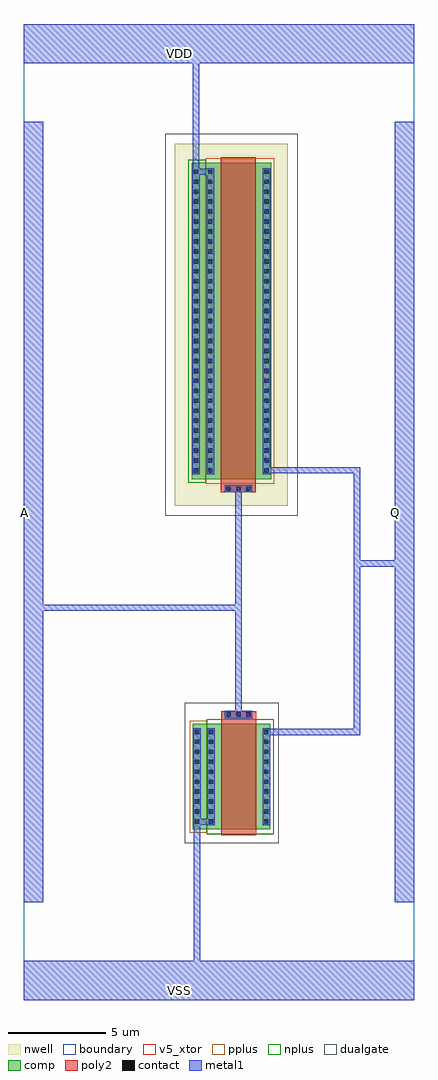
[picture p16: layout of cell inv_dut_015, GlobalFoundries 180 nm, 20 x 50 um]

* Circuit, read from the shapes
.subckt inv_dut_015 A Q VDD VSS
XM1 Q A VSS VSS nfet_05v0 w=5.4u l=1.8u
XM2 Q A VDD VDD pfet_05v0 w=16.2u l=1.8u
.ends

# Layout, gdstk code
from math import pi, radians
import gdstk
lib = gdstk.Library(unit=1e-6, precision=1e-09)
def R(c, l, rs):  # rectangles x0, y0, x1, y1
    for r in rs: c.add(gdstk.rectangle(r[:2], r[2:], *l))
def A(c, l, x, y, w, h, nx, ny, dx, dy):  # array of equal rectangles
    R(c, l, [(x+i*dx, y+j*dy, x+i*dx+w, y+j*dy+h) for i in range(nx) for j in range(ny)])
boundary = (0, 0)
nwell = (21, 0)
comp = (22, 0)
poly2 = (30, 0)
pplus = (31, 0)
nplus = (32, 0)
contact = (33, 0)
metal1 = (34, 0)
dualgate = (55, 0)
v5_xtor = (112, 1)

nfet_25 = lib.new_cell('nfet$25')
R(nfet_25, comp, [(-0.42,0,3.55,5.4)])
R(nfet_25, poly2, [(0.31,-0.3,2.11,6.06)])
R(nfet_25, pplus, [(2.84,-0.17,3.72,5.57)])
R(nfet_25, nplus, [(-0.59,-0.24,2.84,5.64)])
A(nfet_25, contact, -0.32, 0.295, 0.22, 0.22, 1, 10, 0, 0.51)
A(nfet_25, contact, 2.52, 0.295, 0.22, 0.22, 1, 10, 0, 0.51)
A(nfet_25, contact, 3.23, 0.295, 0.22, 0.22, 1, 10, 0, 0.51)
A(nfet_25, contact, 0.59, 5.77, 0.22, 0.22, 3, 1, 0.51, 0)
R(nfet_25, metal1, [(-0.4,0.215,-0.02,5.185), (2.44,0.215,2.82,5.185), (3.15,0.215,3.53,5.185), (0.51,5.69,1.91,6.07)])
R(nfet_25, dualgate, [(-0.84,-0.71,3.97,6.48)])
R(nfet_25, v5_xtor, [(-0.84,-0.71,3.97,6.48)])

pfet_23 = lib.new_cell('pfet$23')
R(pfet_23, nwell, [(-1.32,-0.99,4.47,17.57)])
R(pfet_23, comp, [(-0.46,0,3.61,16.2)])
R(pfet_23, poly2, [(0.31,-0.3,2.11,16.88)])
R(pfet_23, pplus, [(-0.63,-0.24,2.88,16.44)])
R(pfet_23, nplus, [(2.88,-0.17,3.78,16.37)])
A(pfet_23, contact, -0.34, 0.34, 0.22, 0.22, 1, 31, 0, 0.51)
A(pfet_23, contact, 2.54, 0.34, 0.22, 0.22, 1, 31, 0, 0.51)
A(pfet_23, contact, 3.27, 0.34, 0.22, 0.22, 1, 31, 0, 0.51)
A(pfet_23, contact, 0.59, 16.58, 0.22, 0.22, 3, 1, 0.51, 0)
R(pfet_23, metal1, [(-0.42,0.26,-0.04,15.94), (2.46,0.26,2.84,15.94), (3.19,0.26,3.57,15.94), (0.51,16.5,1.91,16.88)])
R(pfet_23, dualgate, [(-1.82,-1.49,4.97,18.07)])
R(pfet_23, v5_xtor, [(-1.82,-1.49,4.97,18.07)])

inv_dut_015 = lib.new_cell('inv_dut_015')
R(inv_dut_015, boundary, [(-10,-25,10,25)])
R(inv_dut_015, metal1, [(-10,-25,10,-23), (-10,-20,-9,20), (9,-20,10,20), (-10,23,10,25)])
inv_dut_015.add(gdstk.FlexPath([(-0.31,17.425),(-1.18,17.425),(-1.18,23.66),(-1.18,23.66)], 0.32, ends="flush", simple_path=True, layer=34, datatype=0))  # metal1
inv_dut_015.add(gdstk.FlexPath([(2.3,2.135),(7.075,2.135),(7.075,-2.64),(9.3,-2.64),(9.3,-2.64)], 0.32, ends="flush", simple_path=True, layer=34, datatype=0))  # metal1
inv_dut_015.add(gdstk.FlexPath([(-0.265,-15.865),(-1.125,-15.865),(-1.125,-23.47),(-1.125,-23.47)], 0.32, ends="flush", simple_path=True, layer=34, datatype=0))  # metal1
inv_dut_015.add(gdstk.FlexPath([(1,1.32),(1,-10.535),(1,-10.535)], 0.32, ends="flush", simple_path=True, layer=34, datatype=0))  # metal1
inv_dut_015.add(gdstk.FlexPath([(2.285,-11.265),(7.075,-11.265),(7.075,-2.64),(7.075,-2.64)], 0.32, ends="flush", simple_path=True, layer=34, datatype=0))  # metal1
inv_dut_015.add(gdstk.FlexPath([(1,-4.9),(-9.5,-4.9),(-9.5,-4.9)], 0.32, ends="flush", simple_path=True, layer=34, datatype=0))  # metal1
inv_dut_015.add(gdstk.Reference(nfet_25, (2.215,-16.26), rotation=pi, x_reflection=True))
inv_dut_015.add(gdstk.Reference(pfet_23, (2.205,17.88), rotation=pi))
inv_dut_015.add(gdstk.Label('VSS', (-2,-24.5), layer=34, texttype=10))
inv_dut_015.add(gdstk.Label('VDD', (-2,23.5), layer=34, texttype=10))
inv_dut_015.add(gdstk.Label('Q', (9.03,0), layer=34, texttype=10))
inv_dut_015.add(gdstk.Label('A', (-9.97,0), layer=34, texttype=10))

lib.write_gds('inv_dut_015.gds')
